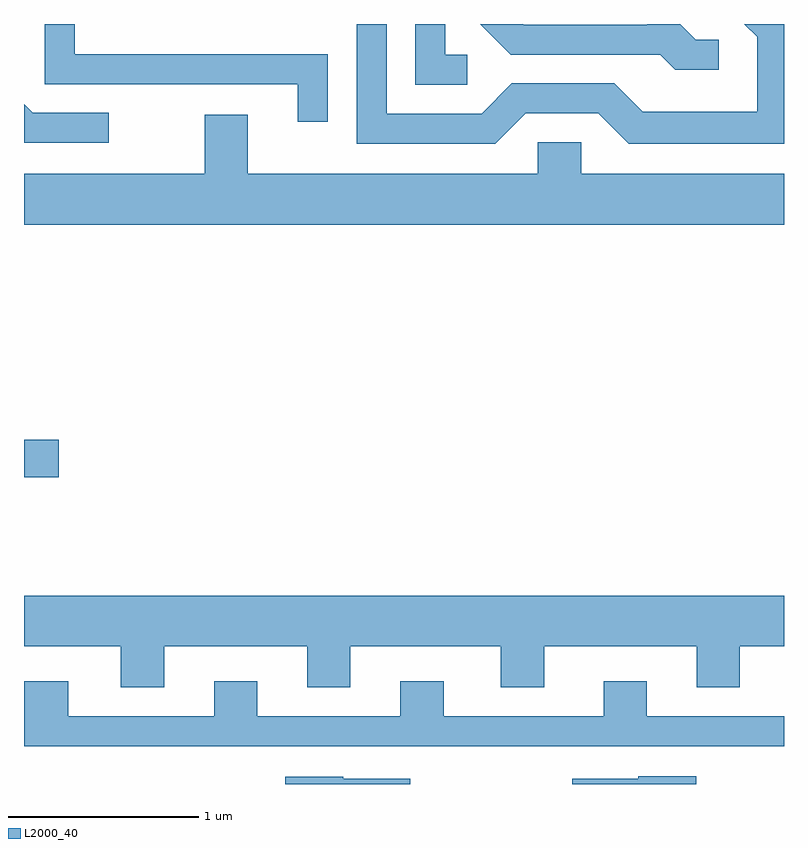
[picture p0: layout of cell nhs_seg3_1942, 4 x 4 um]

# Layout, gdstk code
import gdstk
lib = gdstk.Library(unit=1e-6, precision=1e-09)
def R(c, l, rs):  # rectangles x0, y0, x1, y1
    for r in rs: c.add(gdstk.rectangle(r[:2], r[2:], *l))
def P(c, l, *ps):  # polygons
    for p in ps: c.add(gdstk.Polygon(p, *l))
L2000_40 = (2000, 40)

nhs_seg3_1942 = lib.new_cell('nhs_seg3_1942')
R(nhs_seg3_1942, L2000_40, [(241.611,1193.506,241.794,1193.704)])
P(nhs_seg3_1942, L2000_40, [(244.252,1195.421),(244.634,1195.421),(244.794,1195.261),(245.611,1195.261),(245.611,1195.892),(245.403,1195.892),(245.471,1195.824),(245.471,1195.429),(244.867,1195.429),(244.717,1195.579),(244.179,1195.579),(244.019,1195.419),(243.519,1195.419),(243.519,1195.892),(243.361,1195.892),(243.361,1195.261),(244.092,1195.261)],
  [(245.268,1195.809),(245.147,1195.809),(245.064,1195.892),(244.891,1195.892),(244.891,1195.889),(244.242,1195.889),(244.239,1195.892),(244.013,1195.892),(244.174,1195.731),(244.959,1195.731),(245.039,1195.651),(245.268,1195.651)],
  [(243.209,1195.734),(241.879,1195.734),(241.879,1195.892),(241.721,1195.892),(241.721,1195.576),(243.051,1195.576),(243.051,1195.378),(243.209,1195.378)],
  [(243.943,1195.729),(243.829,1195.729),(243.829,1195.892),(243.671,1195.892),(243.671,1195.571),(243.943,1195.571)],
  [(242.058,1195.424),(241.657,1195.424),(241.611,1195.47),(241.611,1195.266),(242.058,1195.266)],
  [(245.611,1195.104),(244.544,1195.104),(244.544,1195.269),(244.316,1195.269),(244.316,1195.104),(242.789,1195.104),(242.789,1195.414),(242.561,1195.414),(242.561,1195.104),(241.611,1195.104),(241.611,1194.836),(245.611,1194.836)],
  [(242.349,1192.616),(243.101,1192.616),(243.101,1192.401),(243.329,1192.401),(243.329,1192.616),(244.121,1192.616),(244.121,1192.401),(244.349,1192.401),(244.349,1192.616),(245.151,1192.616),(245.151,1192.401),(245.379,1192.401),(245.379,1192.616),(245.611,1192.616),(245.611,1192.884),(241.611,1192.884),(241.611,1192.616),(242.121,1192.616),(242.121,1192.401),(242.349,1192.401)],
  [(245.611,1192.249),(244.889,1192.249),(244.889,1192.434),(244.661,1192.434),(244.661,1192.249),(243.819,1192.249),(243.819,1192.434),(243.591,1192.434),(243.591,1192.249),(242.839,1192.249),(242.839,1192.434),(242.611,1192.434),(242.611,1192.249),(241.844,1192.249),(241.844,1192.434),(241.611,1192.434),(241.611,1192.091),(245.611,1192.091)],
  [(245.149,1191.934),(244.845,1191.934),(244.845,1191.919),(244.496,1191.919),(244.496,1191.892),(245.149,1191.892)],
  [(243.644,1191.919),(243.29,1191.919),(243.29,1191.929),(242.986,1191.929),(242.986,1191.892),(243.644,1191.892)])

lib.write_gds('nhs_seg3_1942.gds')
